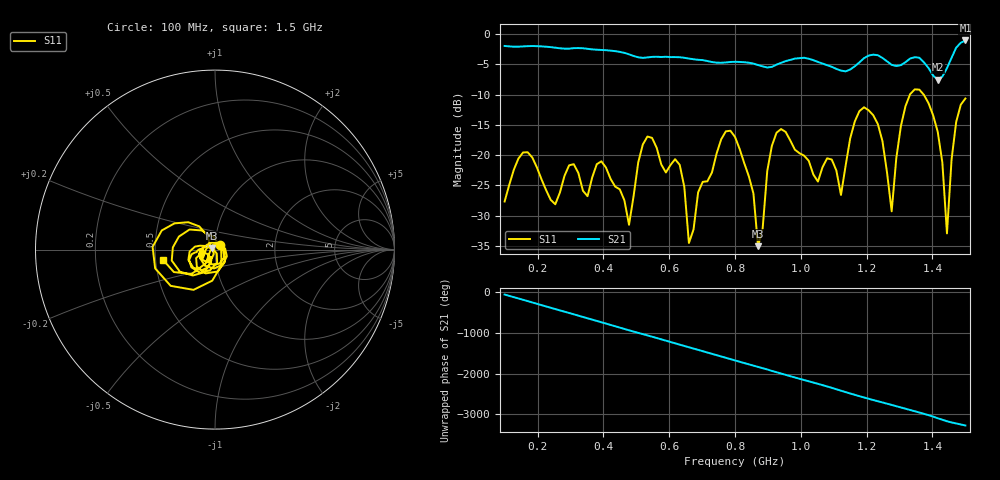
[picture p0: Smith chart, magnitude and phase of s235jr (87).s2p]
! NanoVNA-App
! Date: 2025-09-26 09:45:28
! Start: 100MHz Stop: 1,5GHz Points: 101
! S-Parameter data: F S11 S21 S12 S22
# Hz S RI R 50
!  Frequency  S11_Real  S11_Imag  S21_Real  S21_Imag  S12_Real  S12_Imag  S22_Real  S22_Imag
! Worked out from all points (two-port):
!   101 points, 100 MHz to 1.5 GHz, reference 50 ohm
!   highest |S21| = -1.05 dB at 1.5 GHz (marker M1); lowest = -7.5 dB at 1.416 GHz (marker M2)
!   |S21| within 3 dB of the highest: start of sweep to 661.7 MHz; 1.191 GHz to 1.251 GHz (60.28 MHz wide, 4.94 % of centre)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
!   lowest |S11| = -35.0 dB at 870 MHz (marker M3), VSWR 1.04, Z = 48.5 + j0.904 ohm
!   |S11| at or under -10 dB: start of sweep to 1.331 GHz; 1.374 GHz to end of sweep
!   S12 and S22 are empty: the file has one direction only
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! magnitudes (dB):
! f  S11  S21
! 100 MHz  -27.6  -2.0
! 156 MHz  -19.6  -2.0
! 338 MHz  -25.9  -2.3
! 394 MHz  -21.0  -2.6
! 478 MHz  -31.5  -3.3
! 520 MHz  -18.2  -3.9
! 576 MHz  -21.5  -3.8
! 632 MHz  -21.6  -3.8
! 660 MHz  -34.5  -4.0
! 800 MHz  -17.0  -4.6
! 870 MHz  -35.0  -5.1
! 926 MHz  -16.3  -5.0
! 1.038 GHz  -23.2  -4.3
! 1.122 GHz  -26.6  -6.0
! 1.192 GHz  -12.1  -4.0
! 1.248 GHz  -17.7  -3.9
! 1.276 GHz  -29.3  -5.1
! 1.332 GHz  -9.9  -4.0
! 1.416 GHz  -16.1  -7.5
! 1.444 GHz  -32.9  -5.6
! 1.472 GHz  -14.5  -2.2
! 1.5 GHz  -10.6  -1.0
